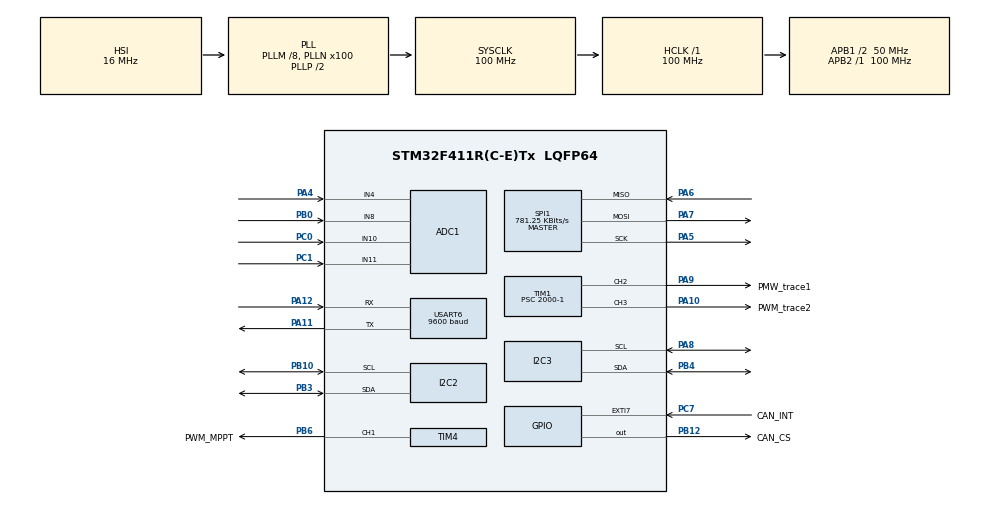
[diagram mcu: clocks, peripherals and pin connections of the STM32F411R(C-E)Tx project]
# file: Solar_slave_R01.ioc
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ADC1.Channel-0\#ChannelRegularConversion=ADC_CHANNEL_4
ADC1.Channel-1\#ChannelRegularConversion=ADC_CHANNEL_8
ADC1.Channel-2\#ChannelRegularConversion=ADC_CHANNEL_10
ADC1.Channel-3\#ChannelRegularConversion=ADC_CHANNEL_11
ADC1.ContinuousConvMode=ENABLE
ADC1.DMAContinuousRequests=ENABLE
ADC1.DiscontinuousConvMode=DISABLE
ADC1.NbrOfConversion=4
ADC1.NbrOfConversionFlag=1
ADC1.Rank-0\#ChannelRegularConversion=1
ADC1.Rank-1\#ChannelRegularConversion=2
ADC1.Rank-2\#ChannelRegularConversion=3
ADC1.Rank-3\#ChannelRegularConversion=4
ADC1.SamplingTime-0\#ChannelRegularConversion=ADC_SAMPLETIME_144CYCLES
ADC1.SamplingTime-1\#ChannelRegularConversion=ADC_SAMPLETIME_144CYCLES
ADC1.SamplingTime-2\#ChannelRegularConversion=ADC_SAMPLETIME_144CYCLES
ADC1.SamplingTime-3\#ChannelRegularConversion=ADC_SAMPLETIME_144CYCLES
ADC1.master=1
Dma.ADC1.0.Direction=DMA_PERIPH_TO_MEMORY
Dma.ADC1.0.FIFOMode=DMA_FIFOMODE_DISABLE
Dma.ADC1.0.Instance=DMA2_Stream0
Dma.ADC1.0.MemDataAlignment=DMA_MDATAALIGN_HALFWORD
Dma.ADC1.0.MemInc=DMA_MINC_ENABLE
Dma.ADC1.0.Mode=DMA_CIRCULAR
Dma.ADC1.0.PeriphDataAlignment=DMA_PDATAALIGN_HALFWORD
Dma.ADC1.0.PeriphInc=DMA_PINC_DISABLE
Dma.ADC1.0.Priority=DMA_PRIORITY_LOW
Dma.I2C2_RX.1.Direction=DMA_PERIPH_TO_MEMORY
Dma.I2C2_RX.1.FIFOMode=DMA_FIFOMODE_DISABLE
Dma.I2C2_RX.1.Instance=DMA1_Stream2
Dma.I2C2_RX.1.MemDataAlignment=DMA_MDATAALIGN_BYTE
Dma.I2C2_RX.1.MemInc=DMA_MINC_ENABLE
Dma.I2C2_RX.1.Mode=DMA_NORMAL
Dma.I2C2_RX.1.PeriphDataAlignment=DMA_PDATAALIGN_BYTE
Dma.I2C2_RX.1.PeriphInc=DMA_PINC_DISABLE
Dma.I2C2_RX.1.Priority=DMA_PRIORITY_LOW
Dma.I2C3_RX.2.Direction=DMA_PERIPH_TO_MEMORY
Dma.I2C3_RX.2.FIFOMode=DMA_FIFOMODE_DISABLE
Dma.I2C3_RX.2.Instance=DMA1_Stream1
Dma.I2C3_RX.2.MemDataAlignment=DMA_MDATAALIGN_BYTE
Dma.I2C3_RX.2.MemInc=DMA_MINC_ENABLE
Dma.I2C3_RX.2.Mode=DMA_NORMAL
Dma.I2C3_RX.2.PeriphDataAlignment=DMA_PDATAALIGN_BYTE
Dma.I2C3_RX.2.PeriphInc=DMA_PINC_DISABLE
Dma.I2C3_RX.2.Priority=DMA_PRIORITY_LOW
Dma.Request0=ADC1
Dma.Request1=I2C2_RX
Dma.Request2=I2C3_RX
Dma.Request3=USART6_RX
Dma.Request4=USART6_TX
Dma.USART6_RX.3.Direction=DMA_PERIPH_TO_MEMORY
Dma.USART6_RX.3.FIFOMode=DMA_FIFOMODE_DISABLE
Dma.USART6_RX.3.Instance=DMA2_Stream1
Dma.USART6_RX.3.MemDataAlignment=DMA_MDATAALIGN_BYTE
Dma.USART6_RX.3.MemInc=DMA_MINC_ENABLE
Dma.USART6_RX.3.Mode=DMA_NORMAL
Dma.USART6_RX.3.PeriphDataAlignment=DMA_PDATAALIGN_BYTE
Dma.USART6_RX.3.PeriphInc=DMA_PINC_DISABLE
Dma.USART6_RX.3.Priority=DMA_PRIORITY_LOW
Dma.USART6_TX.4.Direction=DMA_MEMORY_TO_PERIPH
Dma.USART6_TX.4.FIFOMode=DMA_FIFOMODE_DISABLE
Dma.USART6_TX.4.Instance=DMA2_Stream6
Dma.USART6_TX.4.MemDataAlignment=DMA_MDATAALIGN_BYTE
Dma.USART6_TX.4.MemInc=DMA_MINC_ENABLE
Dma.USART6_TX.4.Mode=DMA_NORMAL
Dma.USART6_TX.4.PeriphDataAlignment=DMA_PDATAALIGN_BYTE
Dma.USART6_TX.4.PeriphInc=DMA_PINC_DISABLE
Dma.USART6_TX.4.Priority=DMA_PRIORITY_LOW
Mcu.Family=STM32F4
Mcu.Name=STM32F411R(C-E)Tx
Mcu.Package=LQFP64
NVIC.DMA1_Stream1_IRQn=true\:0\:0\:false\:false\:true\:false\:true\:true
NVIC.DMA1_Stream2_IRQn=true\:0\:0\:false\:false\:true\:false\:true\:true
NVIC.DMA2_Stream0_IRQn=true\:0\:0\:false\:false\:true\:false\:true\:true
NVIC.DMA2_Stream1_IRQn=true\:0\:0\:false\:false\:true\:false\:true\:true
NVIC.DMA2_Stream6_IRQn=true\:0\:0\:false\:false\:true\:false\:true\:true
NVIC.EXTI9_5_IRQn=true\:0\:0\:false\:false\:true\:true\:true\:true
NVIC.I2C2_ER_IRQn=true\:0\:0\:false\:false\:true\:true\:true\:true
NVIC.I2C2_EV_IRQn=true\:0\:0\:false\:false\:true\:true\:true\:true
NVIC.I2C3_ER_IRQn=true\:0\:0\:false\:false\:true\:true\:true\:true
NVIC.I2C3_EV_IRQn=true\:0\:0\:false\:false\:true\:true\:true\:true
NVIC.PriorityGroup=NVIC_PRIORITYGROUP_4
NVIC.SPI1_IRQn=true\:0\:0\:false\:false\:true\:true\:true\:true
NVIC.TIM1_UP_TIM10_IRQn=true\:0\:0\:false\:false\:true\:true\:true\:true
NVIC.USART6_IRQn=true\:0\:0\:false\:false\:true\:true\:true\:true
PA10.GPIO_Label=PWM_trace2
PA10.GPIO_PuPd=GPIO_NOPULL
PA10.Signal=S_TIM1_CH3
PA11.Mode=Asynchronous
PA11.Signal=USART6_TX
PA12.Mode=Asynchronous
PA12.Signal=USART6_RX
PA13.Mode=Serial_Wire
PA13.Signal=SYS_JTMS-SWDIO
PA14.Mode=Serial_Wire
PA14.Signal=SYS_JTCK-SWCLK
PA4.Signal=ADCx_IN4
PA5.Mode=Full_Duplex_Master
PA5.Signal=SPI1_SCK
PA6.Mode=Full_Duplex_Master
PA6.Signal=SPI1_MISO
PA7.Mode=Full_Duplex_Master
PA7.Signal=SPI1_MOSI
PA8.Mode=I2C
PA8.Signal=I2C3_SCL
PA9.GPIO_Label=PMW_trace1
PA9.Signal=S_TIM1_CH2
PB0.Signal=ADCx_IN8
PB10.Mode=I2C
PB10.Signal=I2C2_SCL
PB12.GPIO_Label=CAN_CS
PB12.PinState=GPIO_PIN_SET
PB12.Signal=GPIO_Output
PB3.Mode=I2C
PB3.Signal=I2C2_SDA
PB4.Mode=I2C
PB4.Signal=I2C3_SDA
PB6.GPIO_Label=PWM_MPPT
PB6.Signal=S_TIM4_CH1
PC0.Signal=ADCx_IN10
PC1.Signal=ADCx_IN11
PC7.GPIO_Label=CAN_INT
PC7.GPIO_ModeDefaultEXTI=GPIO_MODE_IT_FALLING
PC7.GPIO_PuPd=GPIO_PULLUP
PC7.Signal=GPXTI7
ProjectManager.HeapSize=0x200
ProjectManager.StackSize=0x400
ProjectManager.TargetToolchain=STM32CubeIDE
RCC.48MHZClocksFreq_Value=50000000
RCC.AHBFreq_Value=100000000
RCC.APB1CLKDivider=RCC_HCLK_DIV2
RCC.APB1Freq_Value=50000000
RCC.APB1TimFreq_Value=100000000
RCC.APB2Freq_Value=100000000
RCC.APB2TimFreq_Value=100000000
RCC.CortexFreq_Value=100000000
RCC.HCLKFreq_Value=100000000
RCC.HSE_VALUE=25000000
RCC.HSI_VALUE=16000000
RCC.LSE_VALUE=32768
RCC.PLLM=8
RCC.PLLN=100
RCC.SYSCLKFreq_VALUE=100000000
RCC.SYSCLKSource=RCC_SYSCLKSOURCE_PLLCLK
RCC.VCOOutputFreq_Value=200000000
SH.ADCx_IN10.0=ADC1_IN10,IN10
SH.ADCx_IN11.0=ADC1_IN11,IN11
SH.ADCx_IN4.0=ADC1_IN4,IN4
SH.ADCx_IN8.0=ADC1_IN8,IN8
SH.S_TIM1_CH2.0=TIM1_CH2,PWM Generation2 CH2
SH.S_TIM1_CH3.0=TIM1_CH3,PWM Generation3 CH3
SH.S_TIM4_CH1.0=TIM4_CH1,PWM Generation1 CH1
SPI1.BaudRatePrescaler=SPI_BAUDRATEPRESCALER_128
SPI1.CalculateBaudRate=781.25 KBits/s
SPI1.Direction=SPI_DIRECTION_2LINES
SPI1.Mode=SPI_MODE_MASTER
SPI1.VirtualType=VM_MASTER
TIM1.Channel-PWM\ Generation2\ CH2=TIM_CHANNEL_2
TIM1.Channel-PWM\ Generation3\ CH3=TIM_CHANNEL_3
TIM1.Period=1000-1
TIM1.Prescaler=2000-1
TIM1.Pulse-PWM\ Generation2\ CH2=0
TIM1.Pulse-PWM\ Generation3\ CH3=0
TIM10.Period=1000-1
TIM10.Prescaler=100-1
TIM11.Prescaler=100-1
TIM4.Channel-PWM\ Generation1\ CH1=TIM_CHANNEL_1
USART6.BaudRate=9600
USART6.VirtualMode=VM_ASYNC
VP_TIM10_VS_ClockSourceINT.Mode=Enable_Timer
VP_TIM11_VS_ClockSourceINT.Mode=Enable_Timer
VP_TIM1_VS_ClockSourceINT.Mode=Internal
board=custom

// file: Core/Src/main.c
/* USER CODE BEGIN Header */
/**
  ******************************************************************************
  * @file           : main.c
  * @brief          : Main program body
  ******************************************************************************
  * @attention
  *
  * Copyright (c) 2026 STMicroelectronics.
  * All rights reserved.
  *
  * This software is licensed under terms that can be found in the LICENSE file
  * in the root directory of this software component.
  * If no LICENSE file comes with this software, it is provided AS-IS.
  *
  ******************************************************************************
  */
/* USER CODE END Header */
#include "main.h"
#include "adc.h"
#include "dma.h"
#include "i2c.h"
#include "spi.h"
#include "tim.h"
#include "usart.h"
#include "gpio.h"

/* USER CODE BEGIN Includes */

#include "can.h"
#include "statemachine.h"
#include "app_charger.h"

/* USER CODE END Includes */

/* USER CODE BEGIN PM */

#ifdef __GNUC__
#define PUTCHAR_PROTOTYPE int __io_putchar(int ch)
#else
#define PUTCHAR_PROTOTYPE int fputc(int ch, FILE *f)
#endif

PUTCHAR_PROTOTYPE
{
    if (ch == '\n')
    {
        uint8_t cr = '\r';
        HAL_UART_Transmit(&huart6, &cr, 1U, 0xFFFFU);
    }

    HAL_UART_Transmit(&huart6, (uint8_t *)&ch, 1U, 0xFFFFU);
    return ch;
}

/* USER CODE END PM */

void SystemClock_Config(void);

/* USER CODE BEGIN 0 */

/* =========================================================
 * HAL callback forwarding
 * ========================================================= */
void HAL_SPI_TxRxCpltCallback(SPI_HandleTypeDef *hspi)
{
    Can_SpiTxRxCpltCallback(hspi);
}

void HAL_SPI_ErrorCallback(SPI_HandleTypeDef *hspi)
{
    Can_SpiErrorCallback(hspi);
}

void HAL_GPIO_EXTI_Callback(uint16_t GPIO_Pin)
{
    Can_ExtiCallback(GPIO_Pin);
}

/*
 *  APP_Charger_CallBack
 */

/* =========================================================
 * TIM10 1ms tick -> app_charger 전달
 * ========================================================= */
void HAL_TIM_PeriodElapsedCallback(TIM_HandleTypeDef *htim)
{
    if (htim->Instance == TIM10)
    {
        App_Charger_Tick1ms();
    }
}

/* =========================================================
 * I2C DMA rx complete -> app_charger 전달
 * ========================================================= */
void HAL_I2C_MemRxCpltCallback(I2C_HandleTypeDef *hi2c)
{
    App_Charger_I2CMemRxCpltCallback(hi2c);
}

/* =========================================================
 * I2C error -> app_charger 전달
 * ========================================================= */
void HAL_I2C_ErrorCallback(I2C_HandleTypeDef *hi2c)
{
    App_Charger_I2CErrorCallback(hi2c);
}

/* =========================================================
 * UART DMA tx complete -> app_charger 전달
 * ========================================================= */
void HAL_UART_TxCpltCallback(UART_HandleTypeDef *huart)
{
    App_Charger_UartTxCpltCallback(huart);
}

/* =========================================================
 * UART error -> app_charger 전달
 * ========================================================= */
void HAL_UART_ErrorCallback(UART_HandleTypeDef *huart)
{
    App_Charger_UartErrorCallback(huart);
}

/* USER CODE END 0 */

int main(void)
{

  /* MCU Configuration--------------------------------------------------------*/

  /* Reset of all peripherals, Initializes the Flash interface and the Systick. */
  HAL_Init();

  /* Configure the system clock */
  SystemClock_Config();

  /* Initialize all configured peripherals */
  MX_GPIO_Init();
  MX_DMA_Init();
  MX_TIM11_Init();
  MX_ADC1_Init();
  MX_USART6_UART_Init();
  MX_SPI1_Init();
  MX_I2C2_Init();
  MX_I2C3_Init();
  MX_TIM1_Init();
  MX_TIM4_Init();
  MX_TIM10_Init();
  /* USER CODE BEGIN 2 */

  STMACHINE_Init();
  HAL_TIM_Base_Start(&htim11);

  Trace_Init();
  Can_Init();

  /* USER CODE END 2 */

  /* Infinite loop */
  /* USER CODE BEGIN WHILE */
  while (1)
  {

      ST_MACHINE();

    /* USER CODE END WHILE */

  }
}

void SystemClock_Config(void)
{
  RCC_OscInitTypeDef RCC_OscInitStruct = {0};
  RCC_ClkInitTypeDef RCC_ClkInitStruct = {0};

  /** Configure the main internal regulator output voltage
  */
  __HAL_RCC_PWR_CLK_ENABLE();
  __HAL_PWR_VOLTAGESCALING_CONFIG(PWR_REGULATOR_VOLTAGE_SCALE1);

  /** Initializes the RCC Oscillators according to the specified parameters
  * in the RCC_OscInitTypeDef structure.
  */
  RCC_OscInitStruct.OscillatorType = RCC_OSCILLATORTYPE_HSI;
  RCC_OscInitStruct.HSIState = RCC_HSI_ON;
  RCC_OscInitStruct.HSICalibrationValue = RCC_HSICALIBRATION_DEFAULT;
  RCC_OscInitStruct.PLL.PLLState = RCC_PLL_ON;
  RCC_OscInitStruct.PLL.PLLSource = RCC_PLLSOURCE_HSI;
  RCC_OscInitStruct.PLL.PLLM = 8;
  RCC_OscInitStruct.PLL.PLLN = 100;
  RCC_OscInitStruct.PLL.PLLP = RCC_PLLP_DIV2;
  RCC_OscInitStruct.PLL.PLLQ = 4;
  if (HAL_RCC_OscConfig(&RCC_OscInitStruct) != HAL_OK)
  {
    Error_Handler();
  }

  /** Initializes the CPU, AHB and APB buses clocks
  */
  RCC_ClkInitStruct.ClockType = RCC_CLOCKTYPE_HCLK|RCC_CLOCKTYPE_SYSCLK
                              |RCC_CLOCKTYPE_PCLK1|RCC_CLOCKTYPE_PCLK2;
  RCC_ClkInitStruct.SYSCLKSource = RCC_SYSCLKSOURCE_PLLCLK;
  RCC_ClkInitStruct.AHBCLKDivider = RCC_SYSCLK_DIV1;
  RCC_ClkInitStruct.APB1CLKDivider = RCC_HCLK_DIV2;
  RCC_ClkInitStruct.APB2CLKDivider = RCC_HCLK_DIV1;

  if (HAL_RCC_ClockConfig(&RCC_ClkInitStruct, FLASH_LATENCY_3) != HAL_OK)
  {
    Error_Handler();
  }
}

void Error_Handler(void)
{
  __disable_irq();
  while (1)
  {
  }
}
